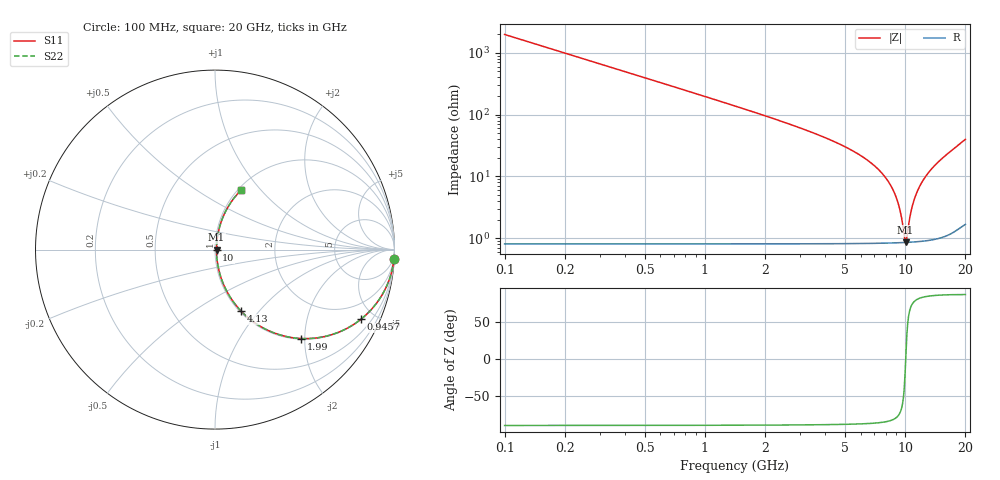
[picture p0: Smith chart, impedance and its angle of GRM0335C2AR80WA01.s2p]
!Murata Part Number: GRM0335C2AR80WA01
!These Parameters are Measured in Series Mode Connection
!Data Generated on Mar 30, 2021
!  o--ll--o
!Port1  Port2
!  o------o
!Operation Temp=25[degC], DC Bias Voltage=0[V]
!Freq. Start=100[MHz] Stop=20[GHz] 401[Steps]
# Hz S RI R 50
!Freq.(Hz) S11(Real) S11(Imag) S21(Real) S21(Imag) S12(Real) S12(Imag) S22(Real) S22(Imag)
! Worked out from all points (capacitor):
!   401 points, 100 MHz to 20 GHz, reference 50 ohm
!   read as one part in series: C = 800 fF near 199.5 MHz
!   lowest |Z| = 853 mohm at 10.05 GHz (marker M1)
!   series resonance near 10.07 GHz, so ESL is about 310 pH
!   S11 on the Smith chart (normalised r, x): 100 MHz: 1, -40; 945.8 MHz: 1.02, -4.17; 1.99 GHz: 1.02, -1.92; 4.13 GHz: 1.02, -0.81; 10 GHz: 1.02, -0.01; 20 GHz: 1.03, +0.80
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1e8  0.9975 -0.0501  0.00254 0.0501  0.00254 0.0501  0.9975 -0.0501
2.99e8  0.9777 -0.147  0.0223 0.147  0.0223 0.147  0.9777 -0.147
4.4825e8  0.9512 -0.2146  0.0488 0.2146  0.0488 0.2146  0.9512 -0.2146
6.4725e8  0.903 -0.2947  0.097 0.2947  0.097 0.2947  0.903 -0.2947
9.4575e8  0.8122 -0.3887  0.1878 0.3887  0.1878 0.3887  0.8122 -0.3887
1.44325e9  0.6453 -0.4754  0.3547 0.4754  0.3547 0.4754  0.6453 -0.4754
1.9905e9  0.4808 -0.4955  0.5192 0.4955  0.5192 0.4955  0.4808 -0.4955
3.43325e9  0.2131 -0.4017  0.7869 0.4017  0.7869 0.4017  0.2131 -0.4017
4.12975e9  0.1451 -0.3423  0.8549 0.3423  0.8549 0.3423  0.1451 -0.3423
6.7665e9  0.0339 -0.1577  0.9661 0.1577  0.9661 0.1577  0.0339 -0.1577
8.01025e9  0.0167 -0.0915  0.9833 0.0915  0.9833 0.0915  0.0167 -0.0915
8.90575e9  0.0108 -0.0495  0.9892 0.0495  0.9892 0.0495  0.0108 -0.0495
9.453e9  0.00901 -0.0255  0.991 0.0255  0.991 0.0255  0.00901 -0.0255
1.000025e10  0.00843 -0.00276  0.9916 0.00276  0.9916 0.00276  0.00843 -0.00276
1.005e10  0.00842 -0.000736  0.9916 0.000736  0.9916 0.000736  0.00842 -0.000736
1.019925e10  0.00847 0.00528  0.9915 -0.00528  0.9915 -0.00528  0.00847 0.00528
1.069675e10  0.00914 0.0249  0.9909 -0.0249  0.9909 -0.0249  0.00914 0.0249
1.1244e10  0.0107 0.0457  0.9893 -0.0457  0.9893 -0.0457  0.0107 0.0457
1.21395e10  0.015 0.0782  0.985 -0.0782  0.985 -0.0782  0.015 0.0782
1.338325e10  0.0242 0.1212  0.9758 -0.1212  0.9758 -0.1212  0.0242 0.1212
1.67165e10  0.0677 0.2292  0.9323 -0.2292  0.9323 -0.2292  0.0677 0.2292
2e10  0.1472 0.334  0.8528 -0.334  0.8528 -0.334  0.1472 0.334
